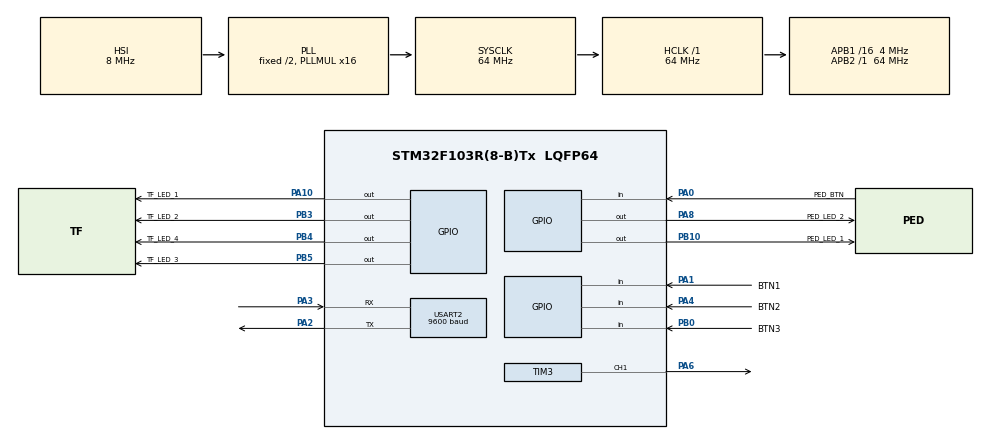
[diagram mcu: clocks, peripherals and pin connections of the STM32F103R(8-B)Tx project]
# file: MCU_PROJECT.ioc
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Mcu.Family=STM32F1
Mcu.Name=STM32F103R(8-B)Tx
Mcu.Package=LQFP64
NVIC.PriorityGroup=NVIC_PRIORITYGROUP_4
NVIC.TIM2_IRQn=true\:0\:0\:false\:false\:true\:true\:true
NVIC.TIM3_IRQn=true\:0\:0\:false\:false\:true\:true\:true
NVIC.USART2_IRQn=true\:0\:0\:false\:false\:true\:true\:true
PA0-WKUP.GPIO_Label=PED_BTN
PA0-WKUP.GPIO_PuPd=GPIO_PULLUP
PA0-WKUP.Signal=GPIO_Input
PA1.GPIO_Label=BTN1
PA1.GPIO_PuPd=GPIO_PULLUP
PA1.Signal=GPIO_Input
PA10.GPIO_Label=TF_LED_1
PA10.Signal=GPIO_Output
PA13.Mode=Serial_Wire
PA13.Signal=SYS_JTMS-SWDIO
PA14.Mode=Serial_Wire
PA14.Signal=SYS_JTCK-SWCLK
PA2.Mode=Asynchronous
PA2.Signal=USART2_TX
PA3.Mode=Asynchronous
PA3.Signal=USART2_RX
PA4.GPIO_Label=BTN2
PA4.GPIO_PuPd=GPIO_PULLUP
PA4.Signal=GPIO_Input
PA6.Signal=S_TIM3_CH1
PA8.GPIO_Label=PED_LED_2
PA8.Signal=GPIO_Output
PB0.GPIO_Label=BTN3
PB0.GPIO_PuPd=GPIO_PULLUP
PB0.Signal=GPIO_Input
PB10.GPIO_Label=PED_LED_1
PB10.Signal=GPIO_Output
PB3.GPIO_Label=TF_LED_2
PB3.Signal=GPIO_Output
PB4.GPIO_Label=TF_LED_4
PB4.Signal=GPIO_Output
PB5.GPIO_Label=TF_LED_3
PB5.Signal=GPIO_Output
ProjectManager.HeapSize=0x200
ProjectManager.StackSize=0x400
ProjectManager.TargetToolchain=STM32CubeIDE
RCC.AHBFreq_Value=64000000
RCC.APB1CLKDivider=RCC_HCLK_DIV16
RCC.APB1Freq_Value=4000000
RCC.APB1TimFreq_Value=8000000
RCC.APB2Freq_Value=64000000
RCC.APB2TimFreq_Value=64000000
RCC.HCLKFreq_Value=64000000
RCC.PLLMUL=RCC_PLL_MUL16
RCC.SYSCLKFreq_VALUE=64000000
RCC.SYSCLKSource=RCC_SYSCLKSOURCE_PLLCLK
RCC.USBFreq_Value=64000000
SH.S_TIM3_CH1.0=TIM3_CH1,PWM Generation1 CH1
TIM2.Period=63
TIM2.Prescaler=999
TIM3.Channel-PWM\ Generation1\ CH1=TIM_CHANNEL_1
TIM3.Period=999
TIM3.Prescaler=63
USART2.BaudRate=9600
USART2.VirtualMode=VM_ASYNC
VP_TIM2_VS_ClockSourceINT.Mode=Internal
VP_TIM3_VS_ClockSourceINT.Mode=Internal
board=custom

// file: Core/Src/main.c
/* USER CODE BEGIN Header */
/**
  ******************************************************************************
  * @file           : main.c
  * @brief          : Main program body
  ******************************************************************************
  * @attention
  *
  * <h2><center>&copy; Copyright (c) 2023 STMicroelectronics.
  * All rights reserved.</center></h2>
  *
  * This software component is licensed by ST under BSD 3-Clause license,
  * the "License"; You may not use this file except in compliance with the
  * License. You may obtain a copy of the License at:
  *                        opensource.org/licenses/BSD-3-Clause
  *
  ******************************************************************************
  */
/* USER CODE END Header */
#include "main.h"

/* USER CODE BEGIN Includes */
#include "global.h"
#include "traffic_light_fsm.h"
#include "ped_fsm.h"
#include "UART.h"
#include "scheduler.h"

#include <stdio.h>
/* USER CODE END Includes */

TIM_HandleTypeDef htim2;
TIM_HandleTypeDef htim3;

UART_HandleTypeDef huart2;

void SystemClock_Config(void);
static void MX_GPIO_Init(void);
static void MX_TIM2_Init(void);
static void MX_USART2_UART_Init(void);
static void MX_TIM3_Init(void);

int main(void)
{

  /* MCU Configuration--------------------------------------------------------*/

  /* Reset of all peripherals, Initializes the Flash interface and the Systick. */
  HAL_Init();

  /* Configure the system clock */
  SystemClock_Config();

  /* Initialize all configured peripherals */
  MX_GPIO_Init();
  MX_TIM2_Init();
  MX_USART2_UART_Init();
  MX_TIM3_Init();
  /* USER CODE BEGIN 2 */
  HAL_TIM_Base_Start_IT(&htim2);
  HAL_TIM_PWM_Start(&htim3, TIM_CHANNEL_1);
  HAL_UART_Receive_IT(&huart2, &temp, 1);
  /* USER CODE END 2 */

  /* Infinite loop */
  /* USER CODE BEGIN WHILE */
  SCH_Add_Task(timerRun, 0, 1);
  SCH_Add_Task(getKeyInput, 0, 1);
  SCH_Add_Task(fsm_traffic_light, 0, 1);
  SCH_Add_Task(fsm_ped, 0, 1);
  while (1)
  {
	  SCH_Dispatch_Task();
    /* USER CODE END WHILE */

  }
}

void SystemClock_Config(void)
{
  RCC_OscInitTypeDef RCC_OscInitStruct = {0};
  RCC_ClkInitTypeDef RCC_ClkInitStruct = {0};

  /** Initializes the RCC Oscillators according to the specified parameters
  * in the RCC_OscInitTypeDef structure.
  */
  RCC_OscInitStruct.OscillatorType = RCC_OSCILLATORTYPE_HSI;
  RCC_OscInitStruct.HSIState = RCC_HSI_ON;
  RCC_OscInitStruct.HSICalibrationValue = RCC_HSICALIBRATION_DEFAULT;
  RCC_OscInitStruct.PLL.PLLState = RCC_PLL_ON;
  RCC_OscInitStruct.PLL.PLLSource = RCC_PLLSOURCE_HSI_DIV2;
  RCC_OscInitStruct.PLL.PLLMUL = RCC_PLL_MUL16;
  if (HAL_RCC_OscConfig(&RCC_OscInitStruct) != HAL_OK)
  {
    Error_Handler();
  }
  /** Initializes the CPU, AHB and APB buses clocks
  */
  RCC_ClkInitStruct.ClockType = RCC_CLOCKTYPE_HCLK|RCC_CLOCKTYPE_SYSCLK
                              |RCC_CLOCKTYPE_PCLK1|RCC_CLOCKTYPE_PCLK2;
  RCC_ClkInitStruct.SYSCLKSource = RCC_SYSCLKSOURCE_PLLCLK;
  RCC_ClkInitStruct.AHBCLKDivider = RCC_SYSCLK_DIV1;
  RCC_ClkInitStruct.APB1CLKDivider = RCC_HCLK_DIV16;
  RCC_ClkInitStruct.APB2CLKDivider = RCC_HCLK_DIV1;

  if (HAL_RCC_ClockConfig(&RCC_ClkInitStruct, FLASH_LATENCY_2) != HAL_OK)
  {
    Error_Handler();
  }
}

static void MX_TIM2_Init(void)
{

  TIM_ClockConfigTypeDef sClockSourceConfig = {0};
  TIM_MasterConfigTypeDef sMasterConfig = {0};

  htim2.Instance = TIM2;
  htim2.Init.Prescaler = 999;
  htim2.Init.CounterMode = TIM_COUNTERMODE_UP;
  htim2.Init.Period = 63;
  htim2.Init.ClockDivision = TIM_CLOCKDIVISION_DIV1;
  htim2.Init.AutoReloadPreload = TIM_AUTORELOAD_PRELOAD_DISABLE;
  if (HAL_TIM_Base_Init(&htim2) != HAL_OK)
  {
    Error_Handler();
  }
  sClockSourceConfig.ClockSource = TIM_CLOCKSOURCE_INTERNAL;
  if (HAL_TIM_ConfigClockSource(&htim2, &sClockSourceConfig) != HAL_OK)
  {
    Error_Handler();
  }
  sMasterConfig.MasterOutputTrigger = TIM_TRGO_RESET;
  sMasterConfig.MasterSlaveMode = TIM_MASTERSLAVEMODE_DISABLE;
  if (HAL_TIMEx_MasterConfigSynchronization(&htim2, &sMasterConfig) != HAL_OK)
  {
    Error_Handler();
  }

}

static void MX_TIM3_Init(void)
{

  TIM_ClockConfigTypeDef sClockSourceConfig = {0};
  TIM_MasterConfigTypeDef sMasterConfig = {0};
  TIM_OC_InitTypeDef sConfigOC = {0};

  htim3.Instance = TIM3;
  htim3.Init.Prescaler = 63;
  htim3.Init.CounterMode = TIM_COUNTERMODE_UP;
  htim3.Init.Period = 999;
  htim3.Init.ClockDivision = TIM_CLOCKDIVISION_DIV1;
  htim3.Init.AutoReloadPreload = TIM_AUTORELOAD_PRELOAD_DISABLE;
  if (HAL_TIM_Base_Init(&htim3) != HAL_OK)
  {
    Error_Handler();
  }
  sClockSourceConfig.ClockSource = TIM_CLOCKSOURCE_INTERNAL;
  if (HAL_TIM_ConfigClockSource(&htim3, &sClockSourceConfig) != HAL_OK)
  {
    Error_Handler();
  }
  if (HAL_TIM_PWM_Init(&htim3) != HAL_OK)
  {
    Error_Handler();
  }
  sMasterConfig.MasterOutputTrigger = TIM_TRGO_RESET;
  sMasterConfig.MasterSlaveMode = TIM_MASTERSLAVEMODE_DISABLE;
  if (HAL_TIMEx_MasterConfigSynchronization(&htim3, &sMasterConfig) != HAL_OK)
  {
    Error_Handler();
  }
  sConfigOC.OCMode = TIM_OCMODE_PWM1;
  sConfigOC.Pulse = 0;
  sConfigOC.OCPolarity = TIM_OCPOLARITY_HIGH;
  sConfigOC.OCFastMode = TIM_OCFAST_DISABLE;
  if (HAL_TIM_PWM_ConfigChannel(&htim3, &sConfigOC, TIM_CHANNEL_1) != HAL_OK)
  {
    Error_Handler();
  }
  HAL_TIM_MspPostInit(&htim3);

}

static void MX_USART2_UART_Init(void)
{

  huart2.Instance = USART2;
  huart2.Init.BaudRate = 9600;
  huart2.Init.WordLength = UART_WORDLENGTH_8B;
  huart2.Init.StopBits = UART_STOPBITS_1;
  huart2.Init.Parity = UART_PARITY_NONE;
  huart2.Init.Mode = UART_MODE_TX_RX;
  huart2.Init.HwFlowCtl = UART_HWCONTROL_NONE;
  huart2.Init.OverSampling = UART_OVERSAMPLING_16;
  if (HAL_UART_Init(&huart2) != HAL_OK)
  {
    Error_Handler();
  }

}

static void MX_GPIO_Init(void)
{
  GPIO_InitTypeDef GPIO_InitStruct = {0};

  /* GPIO Ports Clock Enable */
  __HAL_RCC_GPIOA_CLK_ENABLE();
  __HAL_RCC_GPIOB_CLK_ENABLE();

  /*Configure GPIO pin Output Level */
  HAL_GPIO_WritePin(GPIOB, PED_LED_1_Pin|TF_LED_2_Pin|TF_LED_4_Pin|TF_LED_3_Pin, GPIO_PIN_RESET);

  /*Configure GPIO pin Output Level */
  HAL_GPIO_WritePin(GPIOA, PED_LED_2_Pin|TF_LED_1_Pin, GPIO_PIN_RESET);

  /*Configure GPIO pins : PED_BTN_Pin BTN1_Pin BTN2_Pin */
  GPIO_InitStruct.Pin = PED_BTN_Pin|BTN1_Pin|BTN2_Pin;
  GPIO_InitStruct.Mode = GPIO_MODE_INPUT;
  GPIO_InitStruct.Pull = GPIO_PULLUP;
  HAL_GPIO_Init(GPIOA, &GPIO_InitStruct);

  /*Configure GPIO pin : BTN3_Pin */
  GPIO_InitStruct.Pin = BTN3_Pin;
  GPIO_InitStruct.Mode = GPIO_MODE_INPUT;
  GPIO_InitStruct.Pull = GPIO_PULLUP;
  HAL_GPIO_Init(BTN3_GPIO_Port, &GPIO_InitStruct);

  /*Configure GPIO pins : PED_LED_1_Pin TF_LED_2_Pin TF_LED_4_Pin TF_LED_3_Pin */
  GPIO_InitStruct.Pin = PED_LED_1_Pin|TF_LED_2_Pin|TF_LED_4_Pin|TF_LED_3_Pin;
  GPIO_InitStruct.Mode = GPIO_MODE_OUTPUT_PP;
  GPIO_InitStruct.Pull = GPIO_NOPULL;
  GPIO_InitStruct.Speed = GPIO_SPEED_FREQ_LOW;
  HAL_GPIO_Init(GPIOB, &GPIO_InitStruct);

  /*Configure GPIO pins : PED_LED_2_Pin TF_LED_1_Pin */
  GPIO_InitStruct.Pin = PED_LED_2_Pin|TF_LED_1_Pin;
  GPIO_InitStruct.Mode = GPIO_MODE_OUTPUT_PP;
  GPIO_InitStruct.Pull = GPIO_NOPULL;
  GPIO_InitStruct.Speed = GPIO_SPEED_FREQ_LOW;
  HAL_GPIO_Init(GPIOA, &GPIO_InitStruct);

}

/* USER CODE BEGIN 4 */
void HAL_TIM_PeriodElapsedCallback ( TIM_HandleTypeDef * htim ){
	SCH_Update();
}
/* USER CODE END 4 */

void Error_Handler(void)
{
  __disable_irq();
  while (1)
  {
  }
}

/************************ (C) COPYRIGHT STMicroelectronics *****END OF FILE****/
